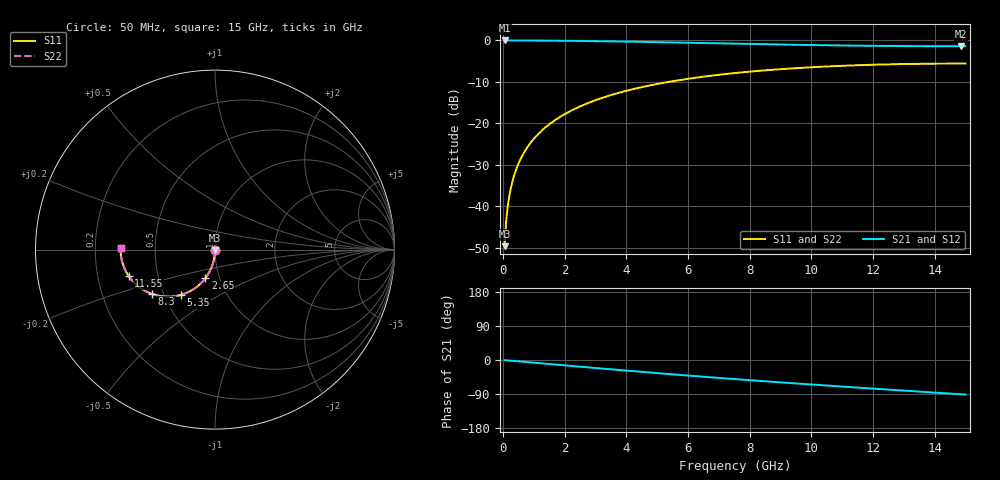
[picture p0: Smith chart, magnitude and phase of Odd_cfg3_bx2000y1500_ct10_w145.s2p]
! Sonnet Data File
! From: emgraph Version : 16.52
! From Emgraph Data: Waveguide2
! Data File Written: 09/24/2017 16:31:35
!< HDATE 09/24/2017 16:24:41
!< MDATE 09/24/2017 16:25:01
!< PARAMS
!< hWid = 5.0
!< gap = 6.0
!< Pwid = 145.0
!< END PARAMS
# GHZ S MA R 50.00000
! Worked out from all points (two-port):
!   300 points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, 50 MHz to 15 GHz, reference 50 ohm
!   highest |S21| = 0.00 dB at 50 MHz (marker M1); lowest = -1.4 dB at 14.85 GHz (marker M2)
!   |S21| within 3 dB of the highest: start of sweep to end of sweep
!   lowest |S11| = -49.7 dB at 50 MHz (marker M3), VSWR 1.01, Z = 50 - j0.329 ohm
!   |S11| at or under -10 dB: start of sweep to 5.376 GHz
!   |S22| runs from -49.7 to -5.6 dB; largest |S21 - S12| = 0
!   S11 on the Smith chart (normalised r, x): 50 MHz: 1.00, -0.01; 2.65 GHz: 0.85, -0.28; 5.35 GHz: 0.61, -0.34; 8.3 GHz: 0.43, -0.26; 11.55 GHz: 0.34, -0.13; 15 GHz: 0.31, +0.01
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0.05  0.003292 -90.4  1 -0.4  1 -0.4  0.003292 -90.4
!< P1 F=0.05 Eeff=(6.41790147 -2.9579e-5) Z0=(27.8752548 6.41953e-5) R=0.18454938 C=0.07688572
!< P2 F=0.05 Eeff=(6.41790147 -2.9579e-5) Z0=(27.8752548 6.41953e-5) R=0.18454938 C=0.07688572
0.1  0.006558 -90.7  1 -0.7  1 -0.7  0.006559 -90.7
0.15  0.009825 -91.0  0.9999 -1.1  0.9999 -1.1  0.009827 -91.0
0.2  0.01309 -91.4  0.9999 -1.4  0.9999 -1.4  0.0131 -91.4
0.25  0.01636 -91.8  0.9999 -1.8  0.9999 -1.8  0.01637 -91.8
0.4  0.02618 -92.8  0.9996 -2.9  0.9996 -2.9  0.02618 -92.8
0.65  0.04252 -94.6  0.9991 -4.7  0.9991 -4.7  0.04252 -94.6
1  0.0653 -97.2  0.9979 -7.1  0.9979 -7.1  0.06529 -97.2
1.4  0.09106 -100.0  0.9959 -10.0  0.9959 -10.0  0.09106 -100.0
1.9  0.1228 -103.5  0.9924 -13.5  0.9924 -13.5  0.1228 -103.5
2.55  0.1631 -108.0  0.9864 -18.1  0.9864 -18.1  0.1631 -108.0
2.65  0.1692 -108.7  0.9854 -18.8  0.9854 -18.8  0.1692 -108.7
3.75  0.2332 -116.3  0.9724 -26.3  0.9724 -26.3  0.2333 -116.3
5.05  0.3007 -125.0  0.9536 -35.0  0.9536 -35.0  0.3007 -125.0
5.35  0.315 -126.9  0.9489 -36.9  0.9489 -36.9  0.315 -126.9
7.55  0.4053 -140.6  0.9139 -50.6  0.9139 -50.6  0.4052 -140.6
8.3  0.43 -145.0  0.9027 -55.0  0.9027 -55.0  0.43 -145.0
10.05  0.476 -155.0  0.8795 -65.0  0.8795 -65.0  0.4761 -155.0
11.55  0.5032 -163.1  0.8644 -73.1  0.8644 -73.1  0.5034 -163.1
12.55  0.5154 -168.4  0.8574 -78.4  0.8574 -78.4  0.5156 -168.4
14.85  0.5255 179.5  0.8509 -90.5  0.8509 -90.5  0.5255 179.5
15  0.5253 178.7  0.8509 -91.3  0.8509 -91.3  0.5253 178.7
